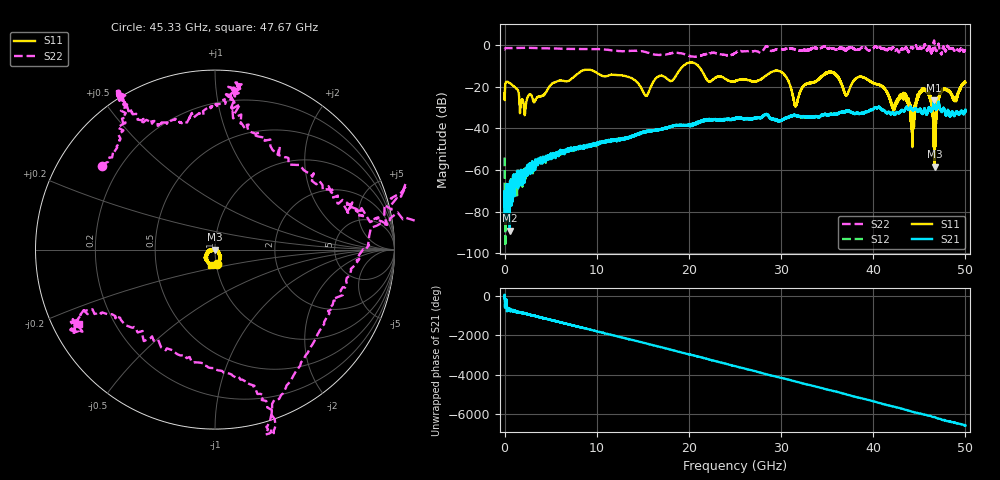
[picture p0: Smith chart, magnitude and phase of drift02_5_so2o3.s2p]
!Created with skrf (http://scikit-rf.org).
# Hz S RI R 50.0
!freq ReS11 ImS11 ReS21 ImS21 ReS12 ImS12 ReS22 ImS22
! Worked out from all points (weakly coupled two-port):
!   10001 points, 300 kHz to 50 GHz, reference 50 ohm
!   highest |S21| = -26.64 dB at 46.61 GHz (marker M1); lowest = -89.1 dB at 560.3 MHz (marker M2)
!   lowest |S11| = -58.4 dB at 46.66 GHz (marker M3), VSWR 1.00, Z = 49.9 - j0.105 ohm
!   |S11| at or under -10 dB: start of sweep to 19.41 GHz; 21 GHz to end of sweep
!   |S22| runs from -5.7 to 2.2 dB; largest |S21 - S12| = 0.0037
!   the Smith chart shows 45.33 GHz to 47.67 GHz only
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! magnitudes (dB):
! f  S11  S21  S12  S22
! 300 kHz  -23.0  -70.3  -54.0  -2.1
! 255.3 MHz  -17.6  -71.1  -79.6  -1.4
! 560.3 MHz  -18.3  -89.1  -70.7  -1.5
! 2.185 GHz  -33.7  -60.7  -62.5  -1.3
! 8.335 GHz  -12.5  -48.6  -49.2  -1.9
! 15.34 GHz  -24.4  -41.8  -41.6  -3.4
! 16.67 GHz  -15.1  -40.9  -40.7  -4.8
! 20.28 GHz  -8.4  -38.0  -38.4  -5.5
! 25 GHz  -17.3  -35.3  -35.3  -3.9
! 29.84 GHz  -12.6  -36.7  -36.5  -2.0
! 31.59 GHz  -29.1  -34.0  -34.2  -2.4
! 33.34 GHz  -18.0  -34.5  -34.5  -1.6
! 35.6 GHz  -13.1  -33.3  -33.4  -1.7
! 37.1 GHz  -24.2  -31.7  -31.7  -2.3
! 38.75 GHz  -15.3  -32.8  -32.7  -1.1
! 41.67 GHz  -24.2  -32.2  -32.2  -1.9
! 44.25 GHz  -34.5  -31.2  -31.1  -1.5
! 45.72 GHz  -21.9  -32.8  -32.5  -1.0
! 46.61 GHz  -42.4  -26.6  -27.0  2.2
! 46.66 GHz  -58.4  -28.3  -28.0  0.7
! 47.47 GHz  -21.9  -31.9  -31.8  -3.5
! 50 GHz  -18.0  -31.7  -32.0  -2.6
